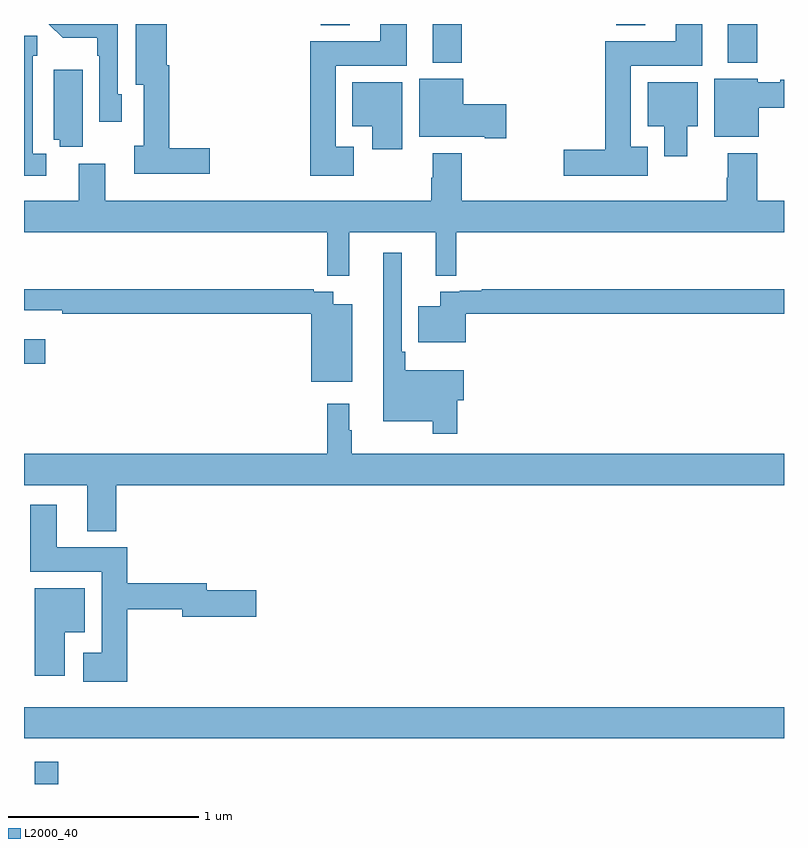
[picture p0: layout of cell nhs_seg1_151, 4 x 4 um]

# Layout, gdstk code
import gdstk
lib = gdstk.Library(unit=1e-6, precision=1e-09)
def R(c, l, rs):  # rectangles x0, y0, x1, y1
    for r in rs: c.add(gdstk.rectangle(r[:2], r[2:], *l))
def P(c, l, *ps):  # polygons
    for p in ps: c.add(gdstk.Polygon(p, *l))
L2000_40 = (2000, 40)

nhs_seg1_151 = lib.new_cell('nhs_seg1_151')
R(nhs_seg1_151, L2000_40, [(119.057,510.199,119.179,510.316), (119,510.44,123,510.604), (119,512.41,119.113,512.539), (121.151,513.995,121.304,514.199), (122.705,513.995,122.858,514.199), (120.563,514.193,120.715,514.199), (122.117,514.193,122.269,514.199)])
P(nhs_seg1_151, L2000_40, [(119.977,513.545),(119.765,513.545),(119.765,513.982),(119.752,513.982),(119.752,514.199),(119.588,514.199),(119.588,513.878),(119.63,513.878),(119.63,513.558),(119.58,513.558),(119.58,513.41),(119.977,513.41)],
  [(119.514,513.828),(119.493,513.828),(119.493,514.199),(119.131,514.199),(119.203,514.127),(119.385,514.127),(119.385,514.031),(119.397,514.031),(119.397,513.684),(119.514,513.684)],
  [(120.736,513.553),(120.64,513.553),(120.64,513.98),(121.015,513.98),(121.015,514.199),(120.875,514.199),(120.875,514.108),(120.506,514.108),(120.506,513.401),(120.736,513.401)],
  [(122.284,513.553),(122.194,513.553),(122.194,513.98),(122.569,513.98),(122.569,514.199),(122.429,514.199),(122.429,514.108),(122.06,514.108),(122.06,513.536),(121.842,513.536),(121.842,513.401),(122.284,513.401)],
  [(119.116,513.516),(119.047,513.516),(119.047,514.032),(119.069,514.032),(119.069,514.138),(119,514.138),(119,513.401),(119.116,513.401)],
  [(119.308,513.958),(119.156,513.958),(119.156,513.59),(119.188,513.59),(119.188,513.553),(119.308,513.553)],
  [(122.866,513.758),(123,513.758),(123,513.905),(122.979,513.905),(122.979,513.892),(122.862,513.892),(122.862,513.91),(122.633,513.91),(122.633,513.605),(122.866,513.605)],
  [(121.537,513.776),(121.312,513.776),(121.312,513.91),(121.079,513.91),(121.079,513.605),(121.424,513.605),(121.424,513.597),(121.537,513.597)],
  [(122.491,513.662),(122.545,513.662),(122.545,513.892),(122.282,513.892),(122.282,513.662),(122.369,513.662),(122.369,513.504),(122.491,513.504)],
  [(120.991,513.892),(120.728,513.892),(120.728,513.662),(120.833,513.662),(120.833,513.54),(120.991,513.54)],
  [(120.713,513.104),(121.166,513.104),(121.166,512.875),(121.274,512.875),(121.274,513.104),(123,513.104),(123,513.268),(122.858,513.268),(122.858,513.52),(122.705,513.52),(122.705,513.389),(122.698,513.389),(122.698,513.268),(121.304,513.268),(121.304,513.52),(121.151,513.52),(121.151,513.389),(121.144,513.389),(121.144,513.268),(119.428,513.268),(119.428,513.463),(119.288,513.463),(119.288,513.268),(119,513.268),(119,513.104),(120.595,513.104),(120.595,512.875),(120.713,512.875)],
  [(121.28,512.219),(121.315,512.219),(121.315,512.377),(121.007,512.377),(121.007,512.473),(120.987,512.473),(120.987,512.995),(120.89,512.995),(120.89,512.108),(121.152,512.108),(121.152,512.043),(121.28,512.043)],
  [(120.727,512.725),(120.628,512.725),(120.628,512.79),(120.524,512.79),(120.524,512.803),(119,512.803),(119,512.693),(119.2,512.693),(119.2,512.674),(120.512,512.674),(120.512,512.315),(120.727,512.315)],
  [(121.325,512.674),(123,512.674),(123,512.803),(121.408,512.803),(121.408,512.796),(121.294,512.796),(121.294,512.79),(121.19,512.79),(121.19,512.713),(121.076,512.713),(121.076,512.525),(121.325,512.525)],
  [(119.486,511.772),(123,511.772),(123,511.936),(120.724,511.936),(120.724,512.06),(120.712,512.06),(120.712,512.2),(120.595,512.2),(120.595,511.936),(119,511.936),(119,511.772),(119.333,511.772),(119.333,511.529),(119.486,511.529)],
  [(119.543,511.12),(119.834,511.12),(119.834,511.078),(120.223,511.078),(120.223,511.22),(119.962,511.22),(119.962,511.256),(119.543,511.256),(119.543,511.444),(119.173,511.444),(119.173,511.669),(119.033,511.669),(119.033,511.316),(119.408,511.316),(119.408,510.889),(119.313,510.889),(119.313,510.737),(119.543,510.737)],
  [(119.215,510.998),(119.32,510.998),(119.32,511.228),(119.057,511.228),(119.057,510.768),(119.215,510.768)])

lib.write_gds('nhs_seg1_151.gds')
